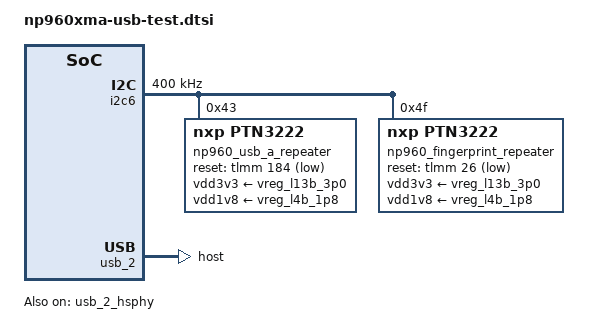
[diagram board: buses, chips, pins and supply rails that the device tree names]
// SPDX-License-Identifier: BSD-3-Clause
// NP960XMA-KB1UK test only. Local Windows DSDT identifies USB3 (0xa400000)
// with I2C7@0xb98000 address 0x43/reset GPIO184, and USB4 (0xa200000)
// with the same bus address 0x4f/reset GPIO26. Windows enumerates the Egis
// reader below USB4. Linux names this bus i2c6. Do not apply to the 14-inch.
// Keep the unmodified kernel DTB as a separate fallback.

&eusb5_repeater { status = "disabled"; };
&eusb6_repeater { status = "disabled"; };

&i2c6 {
    clock-frequency = <400000>;
    status = "okay";
    np960_usb_a_repeater: redriver@43 {
        compatible = "nxp,ptn3222";
        reg = <0x43>;
        #phy-cells = <0>;
        vdd3v3-supply = <&vreg_l13b_3p0>;
        vdd1v8-supply = <&vreg_l4b_1p8>;
        reset-gpios = <&tlmm 184 GPIO_ACTIVE_LOW>;
        pinctrl-0 = <&np960_usb_a_reset>;
        pinctrl-names = "default";
    };
    np960_fingerprint_repeater: redriver@4f {
        compatible = "nxp,ptn3222";
        reg = <0x4f>;
        #phy-cells = <0>;
        vdd3v3-supply = <&vreg_l13b_3p0>;
        vdd1v8-supply = <&vreg_l4b_1p8>;
        reset-gpios = <&tlmm 26 GPIO_ACTIVE_LOW>;
        pinctrl-0 = <&np960_fingerprint_reset>;
        pinctrl-names = "default";
    };
};
&tlmm {
    np960_usb_a_reset: np960-usb-a-reset-state {
        pins = "gpio184";
        function = "gpio";
        drive-strength = <2>;
        bias-disable;
        output-low;
    };
    np960_fingerprint_reset: np960-fingerprint-reset-state {
        pins = "gpio26";
        function = "gpio";
        drive-strength = <2>;
        bias-disable;
        output-low;
    };
};
&usb_mp_hsphy0 { phys = <&np960_usb_a_repeater>; };
&usb_2 { dr_mode = "host"; status = "okay"; };
&usb_2_hsphy {
    vdd-supply = <&vreg_l2e_0p8>;
    vdda12-supply = <&vreg_l3e_1p2>;
    phys = <&np960_fingerprint_repeater>;
    status = "okay";
};
